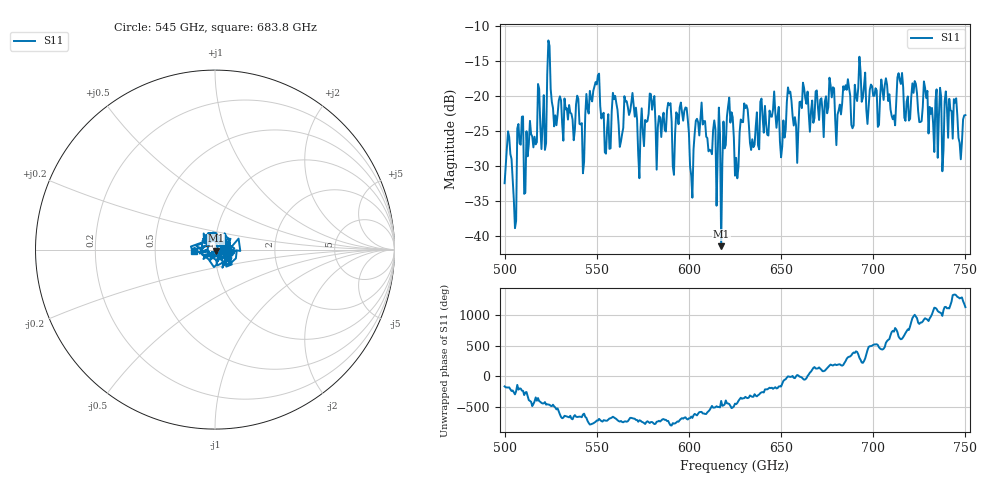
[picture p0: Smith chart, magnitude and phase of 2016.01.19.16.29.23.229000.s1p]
!Created with skrf (http://scikit-rf.org).
# GHz S RI R 50.0
!freq ReS11 ImS11
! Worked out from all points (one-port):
!   401 points, 500 GHz to 750 GHz, reference 50 ohm
!   lowest |S11| = -41.4 dB at 617.5 GHz (marker M1), VSWR 1.02, Z = 50.6 - j0.582 ohm
!   |S11| at or under -10 dB: start of sweep to end of sweep
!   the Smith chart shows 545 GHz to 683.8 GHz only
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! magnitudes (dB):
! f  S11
! 500 GHz  -32.4
! 502.5 GHz  -25.8
! 505 GHz  -34.8
! 508.1 GHz  -26.7
! 511.9 GHz  -25.0
! 521.2 GHz  -19.9
! 524.4 GHz  -12.8
! 531.2 GHz  -24.1
! 541.9 GHz  -23.8
! 550 GHz  -18.3
! 555.6 GHz  -24.6
! 559.4 GHz  -20.4
! 562.5 GHz  -27.2
! 593.8 GHz  -22.6
! 598.8 GHz  -21.7
! 601.2 GHz  -31.3
! 607.5 GHz  -24.0
! 617.5 GHz  -41.4
! 621.9 GHz  -20.2
! 625 GHz  -31.4
! 630.6 GHz  -21.7
! 634.4 GHz  -26.2
! 656.2 GHz  -22.8
! 687.5 GHz  -19.9
! 710.6 GHz  -23.3
! 714.4 GHz  -17.7
! 718.8 GHz  -20.0
! 750 GHz  -22.7
